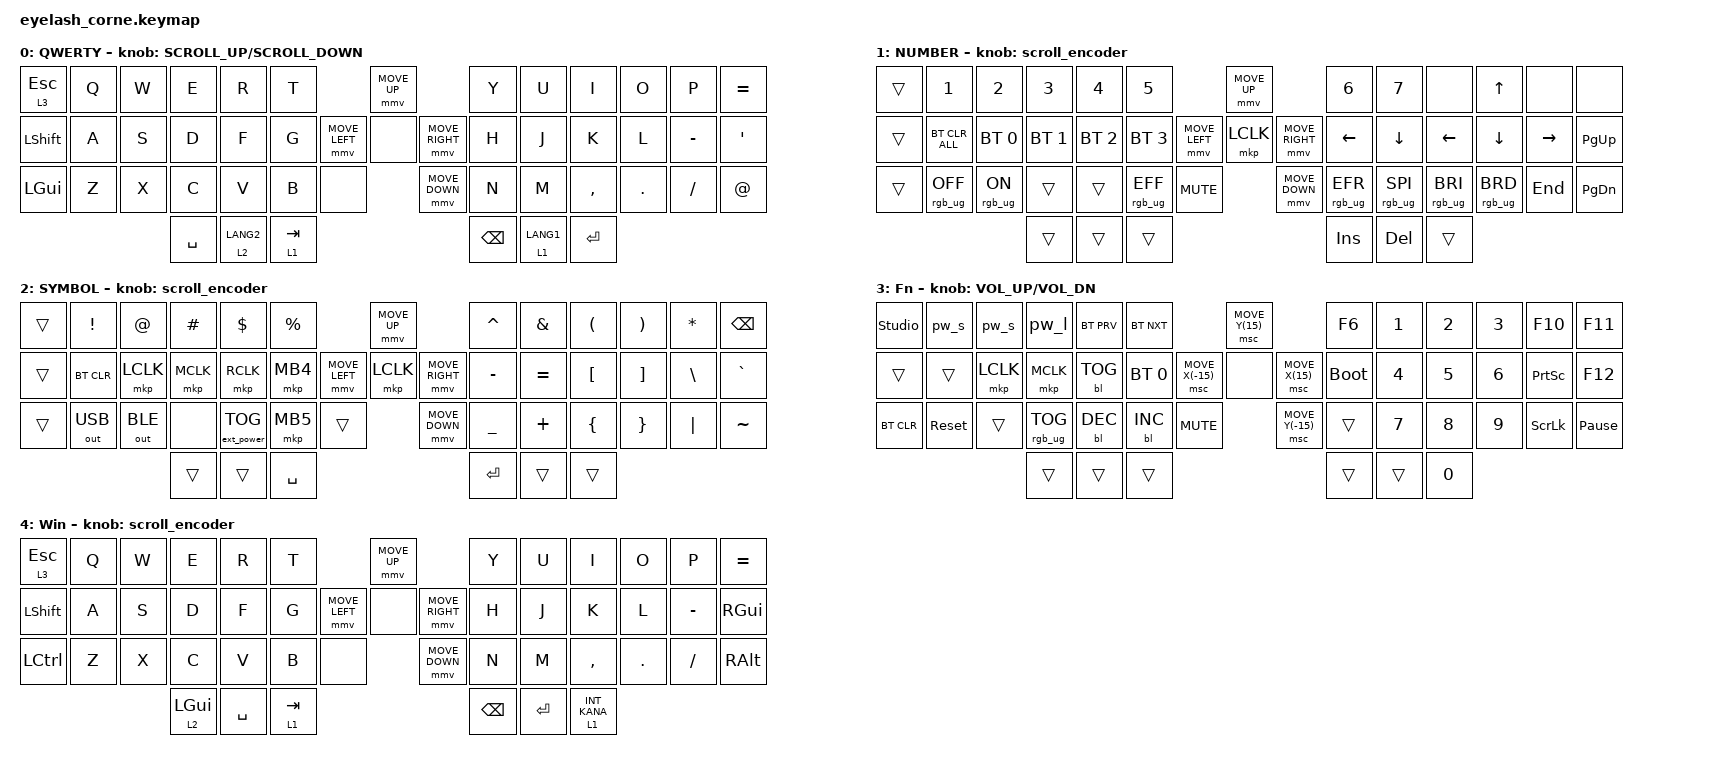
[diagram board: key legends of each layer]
#include <dt-bindings/zmk/mouse.h>
#include <input/processors.dtsi>
#include <behaviors.dtsi>
#include <dt-bindings/zmk/backlight.h>
#include <dt-bindings/zmk/bt.h>
#include <dt-bindings/zmk/ext_power.h>
#include <dt-bindings/zmk/keys.h>
#include <dt-bindings/zmk/outputs.h>
#include <dt-bindings/zmk/pointing.h>
#include <dt-bindings/zmk/rgb.h>

/*

   &mmv_input_listener {
       input-processors = <&zip_xy_scaler 2 1>;
   };

   &msc_input_listener {
       input-processors = <&zip_xy_scaler 2 1>;
   };

 */

#define ZMK_MOUSE_DEFAULT_MOVE_VAL 1200  // 600
#define ZMK_MOUSE_DEFAULT_SCRL_VAL 20    // 10

/ {
    behaviors {
        td0: td0 {
            compatible = "zmk,behavior-tap-dance";
            display-name = "Shift/Caps Lock Tap Dance";
            #binding-cells = <0>;
            bindings = <&kp LEFT_SHIFT>, <&kp CAPS>;
        };
    };

    rgb_encoder: rgb_encoder {
        compatible = "zmk,behavior-sensor-rotate";
        #sensor-binding-cells = <0>;
        bindings = <&rgb_ug RGB_BRI>, <&rgb_ug RGB_BRD>;
    };

    scroll_encoder: scroll_encoder {
        compatible = "zmk,behavior-sensor-rotate";
        #sensor-binding-cells = <0>;
        bindings = <&msc SCRL_DOWN>, <&msc SCRL_UP>;

        tap-ms = <30>;
    };

    combos {
        compatible = "zmk,combos";

        lc {
            bindings = <&mkp LCLK>;
            key-positions = <8 7>;
        };

        lc2 {
            bindings = <&mkp LCLK>;
            key-positions = <22 23>;
        };

        rc {
            bindings = <&mkp RCLK>;
            key-positions = <8 9>;
        };

        rc2 {
            bindings = <&mkp RCLK>;
            key-positions = <23 24>;
        };

        f10 {
            bindings = <&kp F10>;
            key-positions = <25 24>;
        };

        at {
            bindings = <&kp AT>;
            key-positions = <10 11>;
        };

        f2 {
            bindings = <&kp F2>;
            key-positions = <36 37>;
        };

        f7 {
            bindings = <&kp F7>;
            key-positions = <9 10>;
        };

        f6 {
            bindings = <&kp F6>;
            key-positions = <39 38>;
        };

        pscrn {
            bindings = <&kp PRINTSCREEN>;
            key-positions = <1 0>;
        };

        hyphen {
            bindings = <&hyphen>;
            key-positions = <27 26>;
        };
    };

    macros {
        pw_s: pw_s {
            compatible = "zmk,behavior-macro";
            #binding-cells = <0>;
            bindings = <&kp R &kp X &kp MINUS &kp N1 &kp N7 &kp N8 &kp MINUS &kp N0>;
            label = "PW_S";
        };

        pw_su: pw_su {
            compatible = "zmk,behavior-macro";
            #binding-cells = <0>;
            bindings = <&kp LS(R) &kp X &kp MINUS &kp N1 &kp N7 &kp N8 &kp MINUS &kp N0>;
            label = "PW_SU";
        };

        pw_l: pw_l {
            compatible = "zmk,behavior-macro";
            #binding-cells = <0>;
            bindings = <&kp LS(R) &kp X &kp MINUS &kp N1 &kp N7 &kp N8 &kp MINUS &kp N0 &kp A &kp U &kp A &kp U>;
            label = "PW_L";
        };

        hyphen: hyphen {
            compatible = "zmk,behavior-macro";
            #binding-cells = <0>;
            bindings = <&kp MINUS &kp SPACE>;
            label = "HYPHEN";
        };
    };

    keymap {
        compatible = "zmk,keymap";

        default_layer {
            display-name = "QWERTY";
            bindings = <
&lt 3 ESC     &kp Q  &kp W  &kp E      &kp R        &kp T                               &mmv MOVE_UP                     &kp Y     &kp U        &kp I      &kp O    &kp P      &kp EQUAL
&kp LSHIFT    &kp A  &kp S  &kp D      &kp F        &kp G               &mmv MOVE_LEFT  &none           &mmv MOVE_RIGHT  &kp H     &kp J        &kp K      &kp L    &kp MINUS  &kp SQT
&kp LEFT_GUI  &kp Z  &kp X  &kp C      &kp V        &kp B      &none                    &mmv MOVE_DOWN                   &kp N     &kp M        &kp COMMA  &kp DOT  &kp FSLH   &kp AT
                            &kp SPACE  &lt 2 LANG2  &lt 1 TAB                                                            &kp BSPC  &lt 1 LANG1  &kp ENTER
            >;

            sensor-bindings = <&inc_dec_kp K_SCROLL_UP K_SCROLL_DOWN>;
        };

        lower_layer {
            display-name = "NUMBER";
            bindings = <
&trans  &kp N1           &kp N2          &kp N3        &kp N4        &kp N5                                         &mmv MOVE_UP                     &kp N6           &kp N7           &none            &kp UP_ARROW     &none      &none
&trans  &bt BT_CLR_ALL   &bt BT_SEL 0    &bt BT_SEL 1  &bt BT_SEL 2  &bt BT_SEL 3                   &mmv MOVE_LEFT  &mkp LCLK       &mmv MOVE_RIGHT  &kp LEFT         &kp DOWN         &kp LEFT         &kp DOWN         &kp RIGHT  &kp PG_UP
&trans  &rgb_ug RGB_OFF  &rgb_ug RGB_ON  &trans        &trans        &rgb_ug RGB_EFF  &kp C_MUTE                    &mmv MOVE_DOWN                   &rgb_ug RGB_EFR  &rgb_ug RGB_SPI  &rgb_ug RGB_BRI  &rgb_ug RGB_BRD  &kp END    &kp PG_DN
                                         &trans        &trans        &trans                                                                          &kp INS          &kp DEL          &trans
            >;

            sensor-bindings = <&scroll_encoder>;
        };

        raise_layer {
            display-name = "SYMBOL";
            bindings = <
&trans  &kp EXCL      &kp AT        &kp HASH   &kp DLLR           &kp PRCNT                            &mmv MOVE_UP                     &kp CARET  &kp AMPS   &kp LPAR  &kp RPAR  &kp ASTERISK  &kp BSPC
&trans  &bt BT_CLR    &mkp LCLK     &mkp MCLK  &mkp RCLK          &mkp MB4             &mmv MOVE_LEFT  &mkp LCLK       &mmv MOVE_RIGHT  &kp MINUS  &kp EQUAL  &kp LBKT  &kp RBKT  &kp BSLH      &kp GRAVE
&trans  &out OUT_USB  &out OUT_BLE  &none      &ext_power EP_TOG  &mkp MB5   &trans                    &mmv MOVE_DOWN                   &kp UNDER  &kp PLUS   &kp LBRC  &kp RBRC  &kp PIPE      &kp TILDE
                                    &trans     &trans             &kp SPACE                                                             &kp RET    &trans     &trans
            >;

            sensor-bindings = <&scroll_encoder>;
        };

        layer_3 {
            display-name = "Fn";
            bindings = <
&studio_unlock  &pw_s       &pw_s      &pw_l            &bt BT_PRV  &bt BT_NXT                                    &msc MOVE_Y(15)                    &kp F6       &kp NUMBER_1  &kp NUMBER_2  &kp NUMBER_3  &kp F10          &kp F11
&trans          &trans      &mkp LCLK  &mkp MCLK        &bl BL_TOG  &bt BT_SEL 0                &msc MOVE_X(-15)  &none             &msc MOVE_X(15)  &bootloader  &kp NUMBER_4  &kp NUMBER_5  &kp NUMBER_6  &kp PRINTSCREEN  &kp F12
&bt BT_CLR      &sys_reset  &trans     &rgb_ug RGB_TOG  &bl BL_DEC  &bl BL_INC    &kp C_MUTE                      &msc MOVE_Y(-15)                   &trans       &kp NUMBER_7  &kp NUMBER_8  &kp NUMBER_9  &kp SCROLLLOCK   &kp PAUSE_BREAK
                                       &trans           &trans      &trans                                                                           &trans       &trans        &kp NUMBER_0
            >;

            sensor-bindings = <&inc_dec_kp C_VOL_UP C_VOL_DN>;
        };

        layer_4 {
            display-name = "Win";
            bindings = <
&lt 3 ESC   &kp Q  &kp W  &kp E           &kp R      &kp T                               &mmv MOVE_UP                     &kp Y     &kp U      &kp I           &kp O    &kp P      &kp EQUAL
&kp LSHIFT  &kp A  &kp S  &kp D           &kp F      &kp G               &mmv MOVE_LEFT  &none           &mmv MOVE_RIGHT  &kp H     &kp J      &kp K           &kp L    &kp MINUS  &kp RIGHT_GUI
&kp LCTRL   &kp Z  &kp X  &kp C           &kp V      &kp B      &none                    &mmv MOVE_DOWN                   &kp N     &kp M      &kp COMMA       &kp DOT  &kp FSLH   &kp RIGHT_ALT
                          &lt 2 LEFT_GUI  &kp SPACE  &lt 1 TAB                                                            &kp BSPC  &kp ENTER  &lt 1 INT_KANA
            >;

            sensor-bindings = <&scroll_encoder>;
        };
    };
};
